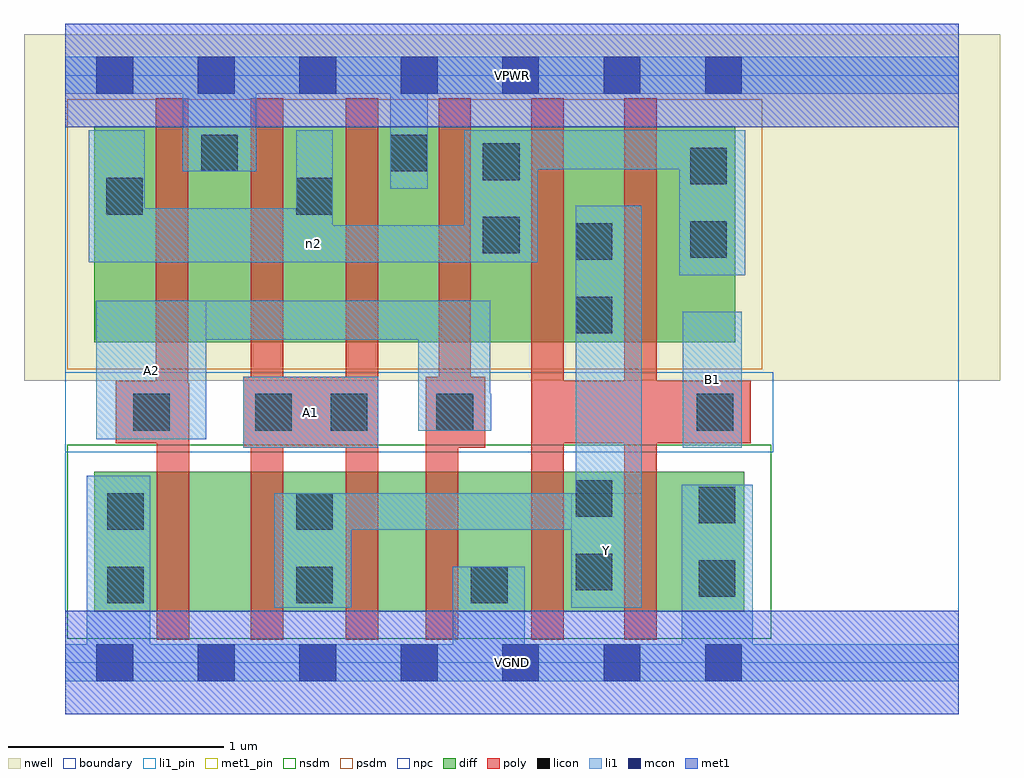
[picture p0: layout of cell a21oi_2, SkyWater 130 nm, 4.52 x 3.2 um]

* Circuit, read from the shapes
.subckt a21oi_2 A1 A2 B1 VGND VPWR Y n2
XM1 n1 A2 VGND VSUBS sky130_fd_pr__nfet_01v8 w=0.65 l=0.15
XM2 Y A1 n1 VSUBS sky130_fd_pr__nfet_01v8 w=0.65 l=0.15
XM3 n3 A1 Y VSUBS sky130_fd_pr__nfet_01v8 w=0.65 l=0.15
XM4 VGND A2 n3 VSUBS sky130_fd_pr__nfet_01v8 w=0.65 l=0.15
XM5 Y B1 VGND VSUBS sky130_fd_pr__nfet_01v8 w=0.65 l=0.15 m=2
XM6 VPWR A2 n2 n4 sky130_fd_pr__pfet_01v8 w=1 l=0.15 m=2
XM7 n2 A1 VPWR n4 sky130_fd_pr__pfet_01v8 w=1 l=0.15 m=2
XM8 Y B1 n2 n4 sky130_fd_pr__pfet_01v8 w=1 l=0.15 m=2
.ends

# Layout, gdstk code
import gdstk
lib = gdstk.Library(unit=1e-6, precision=1e-09)
def R(c, l, rs):  # rectangles x0, y0, x1, y1
    for r in rs: c.add(gdstk.rectangle(r[:2], r[2:], *l))
def A(c, l, x, y, w, h, nx, ny, dx, dy):  # array of equal rectangles
    R(c, l, [(x+i*dx, y+j*dy, x+i*dx+w, y+j*dy+h) for i in range(nx) for j in range(ny)])
nwell = (64, 20)
diff = (65, 20)
poly = (66, 20)
licon = (66, 44)
li1_pin = (67, 16)
li1 = (67, 20)
mcon = (67, 44)
met1_pin = (68, 16)
met1 = (68, 20)
nsdm = (93, 44)
psdm = (94, 20)
npc = (95, 20)
boundary = (235, 4)

a21oi_2 = lib.new_cell('a21oi_2')
R(a21oi_2, nwell, [(-0.19,1.305,4.33,2.91), (0,1.305,4.14,2.91)])
R(a21oi_2, diff, [(0.135,0.235,3.145,0.885), (0.135,1.485,3.105,2.485)])
R(a21oi_2, poly, [(0.425,0.105,0.575,1.295), (0.86,0.105,1.01,2.615), (1.3,0.105,1.45,2.615), (1.67,0.105,1.82,1.325), (2.16,0.105,2.31,2.615), (2.59,0.105,2.74,2.615), (0.825,0.995,1.45,1.325), (1.67,0.995,1.945,1.325), (1.73,0.995,1.88,2.615), (0.235,1.015,0.57,1.305), (0.42,1.015,0.57,2.615), (2.16,1.015,3.175,1.305)])
R(a21oi_2, licon, [(0.195,0.275,0.365,0.445), (1.07,0.275,1.24,0.445), (1.88,0.275,2.05,0.445), (2.935,0.305,3.105,0.475), (2.365,0.335,2.535,0.505), (0.195,0.615,0.365,0.785), (1.07,0.615,1.24,0.785), (2.935,0.645,3.105,0.815), (2.365,0.675,2.535,0.845), (0.315,1.075,0.485,1.245), (0.88,1.075,1.05,1.245), (1.23,1.075,1.4,1.245), (1.72,1.075,1.89,1.245), (2.925,1.075,3.095,1.245), (2.365,1.525,2.535,1.695), (2.365,1.865,2.535,2.035), (2.895,1.875,3.065,2.045), (1.935,1.895,2.105,2.065), (0.19,2.075,0.36,2.245), (1.07,2.075,1.24,2.245), (2.895,2.215,3.065,2.385), (1.935,2.235,2.105,2.405), (0.63,2.275,0.8,2.445), (1.505,2.275,1.675,2.445)])
R(a21oi_2, li1_pin, [(2.345,0.255,2.67,0.785), (0.825,0.995,1.45,1.325), (2.86,0.995,3.135,1.625), (0.145,1.035,0.655,1.675)])
R(a21oi_2, li1, [(0,-0.085,4.14,0.085), (0.1,-0.085,0.395,0.865), (1.795,-0.085,2.13,0.445), (2.855,-0.085,3.185,0.825), (0.97,0.255,1.325,0.785), (2.345,0.255,2.67,0.785), (2.365,0.255,2.67,2.115), (0.97,0.615,2.67,0.785), (0.825,0.995,1.45,1.325), (2.86,0.995,3.135,1.625), (0.145,1.035,0.655,1.675), (1.635,1.075,1.97,1.675), (1.635,1.075,1.975,1.245), (0.145,1.495,1.97,1.675), (2.845,1.795,3.15,2.465), (0.11,1.855,2.19,2.025), (0.11,1.855,0.37,2.465), (0.11,1.855,1.24,2.105), (1.07,1.855,1.24,2.465), (1.85,1.855,2.19,2.465), (1.505,2.195,1.68,2.805), (0.545,2.275,0.885,2.805), (1.85,2.285,3.15,2.465), (0,2.635,4.14,2.805)])
A(a21oi_2, mcon, 0.145, -0.085, 0.17, 0.17, 7, 2, 0.47, 2.72)
R(a21oi_2, met1_pin, [(0,-0.24,4.14,0.24), (0,2.48,4.14,2.96)])
R(a21oi_2, met1, [(0,-0.24,4.14,0.24), (0,2.48,4.14,2.96)])
R(a21oi_2, nsdm, [(0.01,0.11,3.27,1.01)])
R(a21oi_2, psdm, [(0.01,1.36,3.23,2.61)])
R(a21oi_2, npc, [(0,0.975,3.28,1.345)])
R(a21oi_2, boundary, [(0,0,4.14,2.72)])
a21oi_2.add(gdstk.Label('A1', (1.137,1.16), layer=67, texttype=5))
a21oi_2.add(gdstk.Label('A2', (0.4,1.355), layer=67, texttype=5))
a21oi_2.add(gdstk.Label('B1', (2.997,1.31), layer=67, texttype=5))
a21oi_2.add(gdstk.Label('Y', (2.507,0.52), layer=67, texttype=5))
a21oi_2.add(gdstk.Label('n2', (1.15,1.94), layer=67, texttype=5))
a21oi_2.add(gdstk.Label('VPWR', (2.07,2.72), layer=68, texttype=5))
a21oi_2.add(gdstk.Label('VGND', (2.07,0), layer=68, texttype=5))
a21oi_2.add(gdstk.Label('A1', (1.137,1.16), layer=67, texttype=16))
a21oi_2.add(gdstk.Label('A2', (0.4,1.355), layer=67, texttype=16))
a21oi_2.add(gdstk.Label('B1', (2.997,1.31), layer=67, texttype=16))
a21oi_2.add(gdstk.Label('Y', (2.507,0.52), layer=67, texttype=16))
a21oi_2.add(gdstk.Label('VPWR', (2.07,2.72), layer=68, texttype=16))
a21oi_2.add(gdstk.Label('VGND', (2.07,0), layer=68, texttype=16))

lib.write_gds('a21oi_2.gds')
